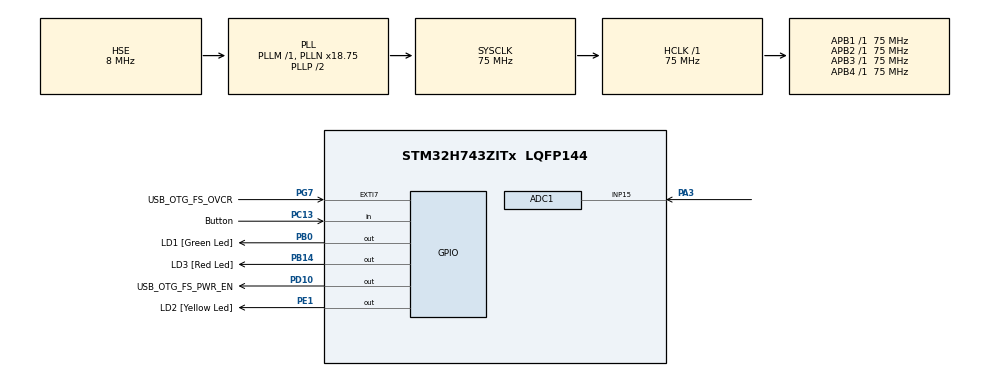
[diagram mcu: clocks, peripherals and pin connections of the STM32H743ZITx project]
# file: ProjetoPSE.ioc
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ADC1.Channel-1\#ChannelRegularConversion=ADC_CHANNEL_15
ADC1.ContinuousConvMode=DISABLE
ADC1.ConversionDataManagement=ADC_CONVERSIONDATA_DR
ADC1.EOCSelection=ADC_EOC_SINGLE_CONV
ADC1.NbrOfConversionFlag=1
ADC1.OffsetNumber-1\#ChannelRegularConversion=ADC_OFFSET_NONE
ADC1.OffsetSignedSaturation-1\#ChannelRegularConversion=DISABLE
ADC1.Overrun=ADC_OVR_DATA_OVERWRITTEN
ADC1.OversamplingMode=ENABLE
ADC1.Rank-1\#ChannelRegularConversion=1
ADC1.Ratio=10
ADC1.Resolution=ADC_RESOLUTION_14B_OPT
ADC1.SamplingTime-1\#ChannelRegularConversion=ADC_SAMPLETIME_64CYCLES_5
ADC1.master=1
Mcu.Family=STM32H7
Mcu.Name=STM32H743ZITx
Mcu.Package=LQFP144
NVIC.ADC_IRQn=true\:0\:0\:false\:false\:true\:true\:true
NVIC.PriorityGroup=NVIC_PRIORITYGROUP_4
PA1.Signal=ETH_REF_CLK
PA11.Signal=USB_OTG_FS_DM
PA12.Signal=USB_OTG_FS_DP
PA13\ (JTMS/SWDIO).Mode=Serial_Wire
PA13\ (JTMS/SWDIO).Signal=DEBUG_JTMS-SWDIO
PA14\ (JTCK/SWCLK).Mode=Serial_Wire
PA14\ (JTCK/SWCLK).Signal=DEBUG_JTCK-SWCLK
PA2.Signal=ETH_MDIO
PA3.Signal=ADCx_INP15
PA7.Signal=ETH_CRS_DV
PA8.Signal=USB_OTG_FS_SOF
PA9.Signal=USB_OTG_FS_VBUS
PB0.GPIO_Label=LD1 [Green Led]
PB0.Signal=GPIO_Output
PB13.Signal=ETH_TXD1
PB14.GPIO_Label=LD3 [Red Led]
PB14.Signal=GPIO_Output
PC1.Signal=ETH_MDC
PC13.GPIO_Label=Button
PC13.Signal=GPIO_Input
PC14-OSC32_IN\ (OSC32_IN).Mode=LSE-External-Oscillator
PC14-OSC32_IN\ (OSC32_IN).Signal=RCC_OSC32_IN
PC15-OSC32_OUT\ (OSC32_OUT).Mode=LSE-External-Oscillator
PC15-OSC32_OUT\ (OSC32_OUT).Signal=RCC_OSC32_OUT
PC4.Signal=ETH_RXD0
PC5.Signal=ETH_RXD1
PD10.GPIO_Label=USB_OTG_FS_PWR_EN
PD10.Signal=GPIO_Output
PD8.GPIO_Label=STLINK_RX
PD8.Signal=USART3_TX
PD9.GPIO_Label=STLINK_TX
PD9.Signal=USART3_RX
PE1.GPIO_Label=LD2 [Yellow Led]
PE1.Signal=GPIO_Output
PG11.Signal=ETH_TX_EN
PG13.Signal=ETH_TXD0
PG7.GPIO_Label=USB_OTG_FS_OVCR
PG7.Signal=GPXTI7
PH0-OSC_IN\ (PH0).Mode=HSE-External-Clock-Source
PH0-OSC_IN\ (PH0).Signal=RCC_OSC_IN
PH1-OSC_OUT\ (PH1).Signal=RCC_OSC_OUT
ProjectManager.HeapSize=0x200
ProjectManager.StackSize=0x400
ProjectManager.TargetToolchain=STM32CubeIDE
RCC.ADCFreq_Value=50000000
RCC.APB1Freq_Value=75000000
RCC.APB2Freq_Value=75000000
RCC.APB3Freq_Value=75000000
RCC.APB4Freq_Value=75000000
RCC.CortexFreq_Value=75000000
RCC.DIVM1=1
RCC.DIVM2=1
RCC.DIVN1=18
RCC.DIVN2=18
RCC.DIVP2=3
RCC.DIVQ1=3
RCC.HCLKFreq_Value=75000000
RCC.HSE_VALUE=8000000
RCC.PLL2FRACN=6144
RCC.PLL2_VCI_Range-AdvancedSettings=RCC_PLL2VCIRANGE_1
RCC.PLL3_VCI_Range-AdvancedSettings=RCC_PLL3VCIRANGE_0
RCC.PLLFRACN=6144
RCC.PLLSourceVirtual=RCC_PLLSOURCE_HSE
RCC.PWR_Regulator_Voltage_Scale=PWR_REGULATOR_VOLTAGE_SCALE2
RCC.SYSCLKFreq_VALUE=75000000
RCC.SYSCLKSource=RCC_SYSCLKSOURCE_PLLCLK
RCC.USART234578CLockSelection=RCC_USART234578CLKSOURCE_HSI
RCC.USBFreq_Value=50000000
SH.ADCx_INP15.0=ADC1_INP15,IN15-Single-Ended
board=NUCLEO-H743ZI2

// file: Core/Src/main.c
/* USER CODE BEGIN Header */
/**
  ******************************************************************************
  * @file           : main.c
  * @brief          : Main program body
  ******************************************************************************
  * @attention
  *
  * Copyright (c) 2022 STMicroelectronics.
  * All rights reserved.
  *
  * This software is licensed under terms that can be found in the LICENSE file
  * in the root directory of this software component.
  * If no LICENSE file comes with this software, it is provided AS-IS.
  *
  ******************************************************************************
  */
/* USER CODE END Header */
#include "main.h"

/* USER CODE BEGIN Includes */
#include "LCD16X2.h"
#include <stdio.h>
#include <math.h>
/* USER CODE END Includes */

ADC_HandleTypeDef hadc1;

/* USER CODE BEGIN PV */
volatile static uint32_t adc_data_buffer[10];
/* USER CODE END PV */

void SystemClock_Config(void);
static void MX_GPIO_Init(void);
static void MX_ADC1_Init(void);

int main(void)
{

  /* MCU Configuration--------------------------------------------------------*/

  /* Reset of all peripherals, Initializes the Flash interface and the Systick. */
  HAL_Init();

  /* Configure the system clock */
  SystemClock_Config();

  /* Initialize all configured peripherals */
  MX_GPIO_Init();
  MX_ADC1_Init();
  /* USER CODE BEGIN 2 */
  HAL_ADCEx_Calibration_Start(&hadc1, ADC_CALIB_OFFSET, ADC_SINGLE_ENDED);
  LCD_Init();
  /* USER CODE END 2 */

  /* Infinite loop */
  while (1)
  {

    /* USER CODE BEGIN 3 */
		if (HAL_GPIO_ReadPin(Button_GPIO_Port, Button_Pin) == GPIO_PIN_SET) {
			HAL_ADC_Start(&hadc1);
			HAL_ADC_PollForConversion(&hadc1, 1);

			const uint32_t ADC_Value = HAL_ADC_GetValue(&hadc1);

			// a partir da fórmula de resistência definida, tem-se para a resistencia do NTC:
			const double res_NTC = 1638300000.0/ADC_Value - 10000;

			// então, a partir da fórmula de temperatura, tem-se para a temperatura medida:
			const double temp_NTC = 3380/(2.12624 + log(res_NTC)) - 273.15;

			LCD_Clear();
			char buffer[17];
			sprintf(buffer, "Temp = %.2lf C", temp_NTC);
			LCD_Write_String(buffer);

			HAL_Delay(500);
		}
  }
  /* USER CODE END 3 */
}

void SystemClock_Config(void)
{
  RCC_OscInitTypeDef RCC_OscInitStruct = {0};
  RCC_ClkInitTypeDef RCC_ClkInitStruct = {0};

  /** Supply configuration update enable
  */
  HAL_PWREx_ConfigSupply(PWR_LDO_SUPPLY);
  /** Configure the main internal regulator output voltage
  */
  __HAL_PWR_VOLTAGESCALING_CONFIG(PWR_REGULATOR_VOLTAGE_SCALE2);

  while(!__HAL_PWR_GET_FLAG(PWR_FLAG_VOSRDY)) {}
  /** Macro to configure the PLL clock source
  */
  __HAL_RCC_PLL_PLLSOURCE_CONFIG(RCC_PLLSOURCE_HSE);
  /** Initializes the RCC Oscillators according to the specified parameters
  * in the RCC_OscInitTypeDef structure.
  */
  RCC_OscInitStruct.OscillatorType = RCC_OSCILLATORTYPE_HSE;
  RCC_OscInitStruct.HSEState = RCC_HSE_BYPASS;
  RCC_OscInitStruct.PLL.PLLState = RCC_PLL_ON;
  RCC_OscInitStruct.PLL.PLLSource = RCC_PLLSOURCE_HSE;
  RCC_OscInitStruct.PLL.PLLM = 1;
  RCC_OscInitStruct.PLL.PLLN = 18;
  RCC_OscInitStruct.PLL.PLLP = 2;
  RCC_OscInitStruct.PLL.PLLQ = 3;
  RCC_OscInitStruct.PLL.PLLR = 2;
  RCC_OscInitStruct.PLL.PLLRGE = RCC_PLL1VCIRANGE_3;
  RCC_OscInitStruct.PLL.PLLVCOSEL = RCC_PLL1VCOMEDIUM;
  RCC_OscInitStruct.PLL.PLLFRACN = 6144;
  if (HAL_RCC_OscConfig(&RCC_OscInitStruct) != HAL_OK)
  {
    Error_Handler();
  }
  /** Initializes the CPU, AHB and APB buses clocks
  */
  RCC_ClkInitStruct.ClockType = RCC_CLOCKTYPE_HCLK|RCC_CLOCKTYPE_SYSCLK
                              |RCC_CLOCKTYPE_PCLK1|RCC_CLOCKTYPE_PCLK2
                              |RCC_CLOCKTYPE_D3PCLK1|RCC_CLOCKTYPE_D1PCLK1;
  RCC_ClkInitStruct.SYSCLKSource = RCC_SYSCLKSOURCE_PLLCLK;
  RCC_ClkInitStruct.SYSCLKDivider = RCC_SYSCLK_DIV1;
  RCC_ClkInitStruct.AHBCLKDivider = RCC_HCLK_DIV1;
  RCC_ClkInitStruct.APB3CLKDivider = RCC_APB3_DIV1;
  RCC_ClkInitStruct.APB1CLKDivider = RCC_APB1_DIV1;
  RCC_ClkInitStruct.APB2CLKDivider = RCC_APB2_DIV1;
  RCC_ClkInitStruct.APB4CLKDivider = RCC_APB4_DIV1;

  if (HAL_RCC_ClockConfig(&RCC_ClkInitStruct, FLASH_LATENCY_1) != HAL_OK)
  {
    Error_Handler();
  }
}

static void MX_ADC1_Init(void)
{

  ADC_MultiModeTypeDef multimode = {0};
  ADC_ChannelConfTypeDef sConfig = {0};

  /** Common config
  */
  hadc1.Instance = ADC1;
  hadc1.Init.ClockPrescaler = ADC_CLOCK_ASYNC_DIV4;
  hadc1.Init.Resolution = ADC_RESOLUTION_14B_OPT;
  hadc1.Init.ScanConvMode = ADC_SCAN_DISABLE;
  hadc1.Init.EOCSelection = ADC_EOC_SINGLE_CONV;
  hadc1.Init.LowPowerAutoWait = DISABLE;
  hadc1.Init.ContinuousConvMode = DISABLE;
  hadc1.Init.NbrOfConversion = 1;
  hadc1.Init.DiscontinuousConvMode = DISABLE;
  hadc1.Init.ExternalTrigConv = ADC_SOFTWARE_START;
  hadc1.Init.ExternalTrigConvEdge = ADC_EXTERNALTRIGCONVEDGE_NONE;
  hadc1.Init.ConversionDataManagement = ADC_CONVERSIONDATA_DR;
  hadc1.Init.Overrun = ADC_OVR_DATA_OVERWRITTEN;
  hadc1.Init.LeftBitShift = ADC_LEFTBITSHIFT_NONE;
  hadc1.Init.OversamplingMode = ENABLE;
  hadc1.Init.Oversampling.Ratio = 10;
  hadc1.Init.Oversampling.RightBitShift = ADC_RIGHTBITSHIFT_NONE;
  hadc1.Init.Oversampling.TriggeredMode = ADC_TRIGGEREDMODE_SINGLE_TRIGGER;
  hadc1.Init.Oversampling.OversamplingStopReset = ADC_REGOVERSAMPLING_CONTINUED_MODE;
  if (HAL_ADC_Init(&hadc1) != HAL_OK)
  {
    Error_Handler();
  }
  /** Configure the ADC multi-mode
  */
  multimode.Mode = ADC_MODE_INDEPENDENT;
  if (HAL_ADCEx_MultiModeConfigChannel(&hadc1, &multimode) != HAL_OK)
  {
    Error_Handler();
  }
  /** Configure Regular Channel
  */
  sConfig.Channel = ADC_CHANNEL_15;
  sConfig.Rank = ADC_REGULAR_RANK_1;
  sConfig.SamplingTime = ADC_SAMPLETIME_64CYCLES_5;
  sConfig.SingleDiff = ADC_SINGLE_ENDED;
  sConfig.OffsetNumber = ADC_OFFSET_NONE;
  sConfig.Offset = 0;
  sConfig.OffsetSignedSaturation = DISABLE;
  if (HAL_ADC_ConfigChannel(&hadc1, &sConfig) != HAL_OK)
  {
    Error_Handler();
  }

}

static void MX_GPIO_Init(void)
{
  GPIO_InitTypeDef GPIO_InitStruct = {0};

  /* GPIO Ports Clock Enable */
  __HAL_RCC_GPIOC_CLK_ENABLE();
  __HAL_RCC_GPIOH_CLK_ENABLE();
  __HAL_RCC_GPIOA_CLK_ENABLE();
  __HAL_RCC_GPIOB_CLK_ENABLE();
  __HAL_RCC_GPIOD_CLK_ENABLE();
  __HAL_RCC_GPIOG_CLK_ENABLE();
  __HAL_RCC_GPIOE_CLK_ENABLE();

  /*Configure GPIO pin Output Level */
  HAL_GPIO_WritePin(GPIOB, LD1_Pin|LD3_Pin, GPIO_PIN_RESET);

  /*Configure GPIO pin Output Level */
  HAL_GPIO_WritePin(USB_OTG_FS_PWR_EN_GPIO_Port, USB_OTG_FS_PWR_EN_Pin, GPIO_PIN_RESET);

  /*Configure GPIO pin Output Level */
  HAL_GPIO_WritePin(LD2_GPIO_Port, LD2_Pin, GPIO_PIN_RESET);

  /*Configure GPIO pin : Button_Pin */
  GPIO_InitStruct.Pin = Button_Pin;
  GPIO_InitStruct.Mode = GPIO_MODE_INPUT;
  GPIO_InitStruct.Pull = GPIO_NOPULL;
  HAL_GPIO_Init(Button_GPIO_Port, &GPIO_InitStruct);

  /*Configure GPIO pins : PC1 PC4 PC5 */
  GPIO_InitStruct.Pin = GPIO_PIN_1|GPIO_PIN_4|GPIO_PIN_5;
  GPIO_InitStruct.Mode = GPIO_MODE_AF_PP;
  GPIO_InitStruct.Pull = GPIO_NOPULL;
  GPIO_InitStruct.Speed = GPIO_SPEED_FREQ_LOW;
  GPIO_InitStruct.Alternate = GPIO_AF11_ETH;
  HAL_GPIO_Init(GPIOC, &GPIO_InitStruct);

  /*Configure GPIO pins : PA1 PA2 PA7 */
  GPIO_InitStruct.Pin = GPIO_PIN_1|GPIO_PIN_2|GPIO_PIN_7;
  GPIO_InitStruct.Mode = GPIO_MODE_AF_PP;
  GPIO_InitStruct.Pull = GPIO_NOPULL;
  GPIO_InitStruct.Speed = GPIO_SPEED_FREQ_LOW;
  GPIO_InitStruct.Alternate = GPIO_AF11_ETH;
  HAL_GPIO_Init(GPIOA, &GPIO_InitStruct);

  /*Configure GPIO pins : LD1_Pin LD3_Pin */
  GPIO_InitStruct.Pin = LD1_Pin|LD3_Pin;
  GPIO_InitStruct.Mode = GPIO_MODE_OUTPUT_PP;
  GPIO_InitStruct.Pull = GPIO_NOPULL;
  GPIO_InitStruct.Speed = GPIO_SPEED_FREQ_LOW;
  HAL_GPIO_Init(GPIOB, &GPIO_InitStruct);

  /*Configure GPIO pin : PB13 */
  GPIO_InitStruct.Pin = GPIO_PIN_13;
  GPIO_InitStruct.Mode = GPIO_MODE_AF_PP;
  GPIO_InitStruct.Pull = GPIO_NOPULL;
  GPIO_InitStruct.Speed = GPIO_SPEED_FREQ_LOW;
  GPIO_InitStruct.Alternate = GPIO_AF11_ETH;
  HAL_GPIO_Init(GPIOB, &GPIO_InitStruct);

  /*Configure GPIO pins : STLINK_RX_Pin STLINK_TX_Pin */
  GPIO_InitStruct.Pin = STLINK_RX_Pin|STLINK_TX_Pin;
  GPIO_InitStruct.Mode = GPIO_MODE_AF_PP;
  GPIO_InitStruct.Pull = GPIO_NOPULL;
  GPIO_InitStruct.Speed = GPIO_SPEED_FREQ_LOW;
  GPIO_InitStruct.Alternate = GPIO_AF7_USART3;
  HAL_GPIO_Init(GPIOD, &GPIO_InitStruct);

  /*Configure GPIO pin : USB_OTG_FS_PWR_EN_Pin */
  GPIO_InitStruct.Pin = USB_OTG_FS_PWR_EN_Pin;
  GPIO_InitStruct.Mode = GPIO_MODE_OUTPUT_PP;
  GPIO_InitStruct.Pull = GPIO_NOPULL;
  GPIO_InitStruct.Speed = GPIO_SPEED_FREQ_LOW;
  HAL_GPIO_Init(USB_OTG_FS_PWR_EN_GPIO_Port, &GPIO_InitStruct);

  /*Configure GPIO pin : USB_OTG_FS_OVCR_Pin */
  GPIO_InitStruct.Pin = USB_OTG_FS_OVCR_Pin;
  GPIO_InitStruct.Mode = GPIO_MODE_IT_RISING;
  GPIO_InitStruct.Pull = GPIO_NOPULL;
  HAL_GPIO_Init(USB_OTG_FS_OVCR_GPIO_Port, &GPIO_InitStruct);

  /*Configure GPIO pins : PA8 PA11 PA12 */
  GPIO_InitStruct.Pin = GPIO_PIN_8|GPIO_PIN_11|GPIO_PIN_12;
  GPIO_InitStruct.Mode = GPIO_MODE_AF_PP;
  GPIO_InitStruct.Pull = GPIO_NOPULL;
  GPIO_InitStruct.Speed = GPIO_SPEED_FREQ_LOW;
  GPIO_InitStruct.Alternate = GPIO_AF10_OTG1_FS;
  HAL_GPIO_Init(GPIOA, &GPIO_InitStruct);

  /*Configure GPIO pins : PG11 PG13 */
  GPIO_InitStruct.Pin = GPIO_PIN_11|GPIO_PIN_13;
  GPIO_InitStruct.Mode = GPIO_MODE_AF_PP;
  GPIO_InitStruct.Pull = GPIO_NOPULL;
  GPIO_InitStruct.Speed = GPIO_SPEED_FREQ_LOW;
  GPIO_InitStruct.Alternate = GPIO_AF11_ETH;
  HAL_GPIO_Init(GPIOG, &GPIO_InitStruct);

  /*Configure GPIO pin : LD2_Pin */
  GPIO_InitStruct.Pin = LD2_Pin;
  GPIO_InitStruct.Mode = GPIO_MODE_OUTPUT_PP;
  GPIO_InitStruct.Pull = GPIO_NOPULL;
  GPIO_InitStruct.Speed = GPIO_SPEED_FREQ_LOW;
  HAL_GPIO_Init(LD2_GPIO_Port, &GPIO_InitStruct);

}

void Error_Handler(void)
{
  __disable_irq();
  while (1)
  {
  }
}
